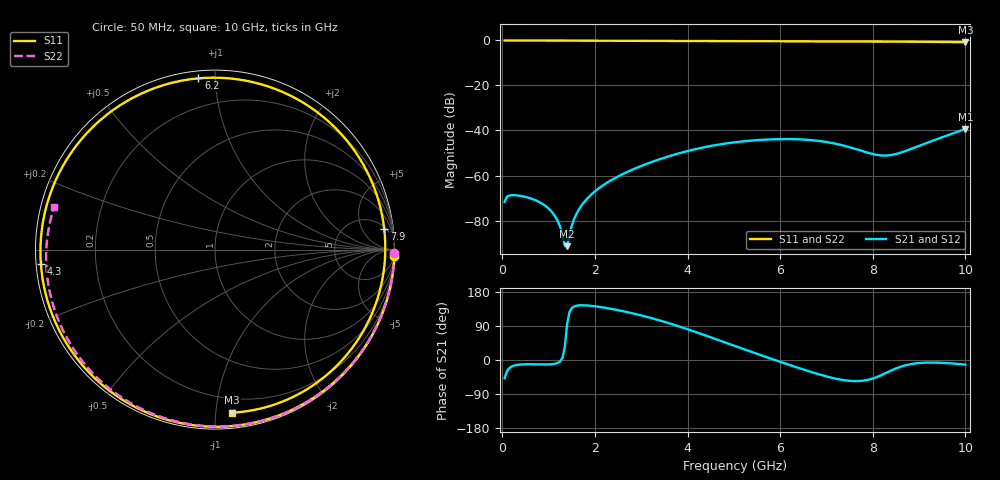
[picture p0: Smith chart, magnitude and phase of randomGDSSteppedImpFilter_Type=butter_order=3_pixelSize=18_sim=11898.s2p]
! freq	dB(S11)	phase(S11)	dB(S12)	phase(S12)
!  dB(S21)	phase(S21)	dB(S22)	phase(S22)
!S-par simulation data
#  GHz  S  DB  R 50
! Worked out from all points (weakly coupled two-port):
!   200 points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, 50 MHz to 10 GHz, reference 50 ohm
!   highest |S21| = -39.29 dB at 10 GHz (marker M1); lowest = -91.4 dB at 1.4 GHz (marker M2)
!   lowest |S11| = -0.8 dB at 10 GHz (marker M3), VSWR 22.13, Z = 5.03 - j55.2 ohm
!   |S11| at or under -10 dB: nowhere
!   |S22| runs from -0.7 to 0.0 dB; largest |S21 - S12| = 0
!   S11 on the Smith chart (normalised r, x): 50 MHz: 0, -54; 4.3 GHz: 0.01, -0.04; 6.2 GHz: 0.04, +0.91; 7.9 GHz: 6, +14; 10 GHz: 0.10, -1.10
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0.05  -0.00 -2.1  -71.67 -48.1  -71.67 -48.1  -0.00 -1.1
0.15  -0.00 -6.4  -68.89 -21.6  -68.89 -21.6  -0.00 -3.2
0.55  -0.02 -23.3  -69.78 -11.2  -69.78 -11.2  -0.01 -11.7
0.95  -0.05 -39.9  -73.80 -11.7  -73.80 -11.7  -0.02 -20.1
1.2  -0.06 -50.3  -80.34 -7.5  -80.34 -7.5  -0.03 -25.4
1.4  -0.07 -58.4  -91.40 94.7  -91.40 94.7  -0.04 -29.5
1.55  -0.08 -64.5  -79.39 141.1  -79.39 141.1  -0.04 -32.6
1.75  -0.09 -72.6  -72.24 144.5  -72.24 144.5  -0.05 -36.7
2  -0.10 -82.6  -67.03 141.8  -67.03 141.8  -0.05 -41.8
2.35  -0.12 -96.6  -62.11 135.1  -62.11 135.1  -0.06 -48.9
2.85  -0.15 -116.4  -57.03 122.1  -57.03 122.1  -0.08 -58.8
3.4  -0.18 -138.3  -52.76 104.4  -52.76 104.4  -0.09 -69.6
4.3  -0.23 -175.2  -47.70 68.6  -47.70 68.6  -0.12 -86.6
5.05  -0.29 151.8  -45.17 35.8  -45.17 35.8  -0.16 -100.5
5.7  -0.34 120.9  -44.04 7.8  -44.04 7.8  -0.19 -112.2
6.2  -0.37 95.6  -43.82 -13.0  -43.82 -13.0  -0.22 -121.2
6.7  -0.39 69.3  -44.33 -32.8  -44.33 -32.8  -0.26 -130.2
7.35  -0.42 35.0  -46.61 -52.7  -46.61 -52.7  -0.31 -141.9
7.9  -0.45 6.9  -49.92 -52.2  -49.92 -52.2  -0.36 -152.1
8.35  -0.48 -14.9  -51.03 -30.4  -51.03 -30.4  -0.41 -160.6
9.2  -0.59 -52.4  -45.26 -6.9  -45.26 -6.9  -0.52 -177.5
10  -0.79 -84.1  -39.29 -12.1  -39.29 -12.1  -0.66 165.3
